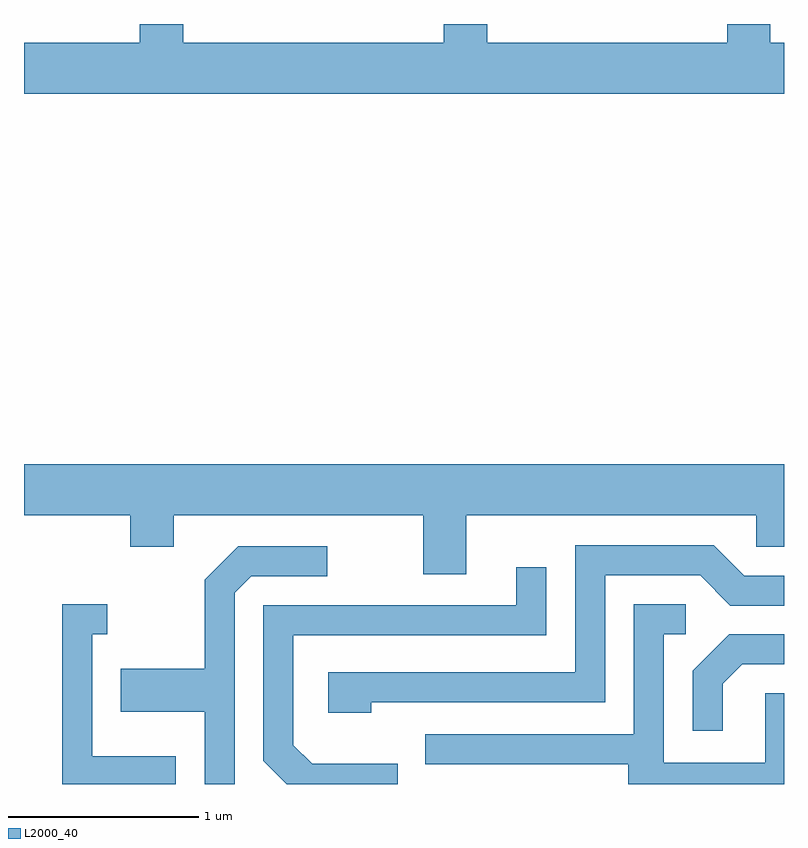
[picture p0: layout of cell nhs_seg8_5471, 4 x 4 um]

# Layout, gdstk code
import gdstk
lib = gdstk.Library(unit=1e-6, precision=1e-09)
def P(c, l, *ps):  # polygons
    for p in ps: c.add(gdstk.Polygon(p, *l))
L2000_40 = (2000, 40)

nhs_seg8_5471 = lib.new_cell('nhs_seg8_5471')
P(nhs_seg8_5471, L2000_40, [(353.611,1832.244),(353.539,1832.244),(353.539,1832.342),(353.311,1832.342),(353.311,1832.244),(352.049,1832.244),(352.049,1832.342),(351.821,1832.342),(351.821,1832.244),(350.449,1832.244),(350.449,1832.342),(350.221,1832.342),(350.221,1832.244),(349.611,1832.244),(349.611,1831.976),(353.611,1831.976)],
  [(349.611,1829.756),(350.171,1829.756),(350.171,1829.591),(350.399,1829.591),(350.399,1829.756),(351.711,1829.756),(351.711,1829.446),(351.939,1829.446),(351.939,1829.756),(353.466,1829.756),(353.466,1829.591),(353.611,1829.591),(353.611,1830.024),(349.611,1830.024)],
  [(351.439,1828.771),(352.669,1828.771),(352.669,1829.441),(353.169,1829.441),(353.329,1829.281),(353.611,1829.281),(353.611,1829.439),(353.402,1829.439),(353.242,1829.599),(352.511,1829.599),(352.511,1828.929),(351.211,1828.929),(351.211,1828.716),(351.439,1828.716)],
  [(350.719,1829.349),(350.807,1829.436),(351.208,1829.436),(351.208,1829.594),(350.739,1829.594),(350.561,1829.417),(350.561,1828.949),(350.121,1828.949),(350.121,1828.721),(350.561,1828.721),(350.561,1828.342),(350.719,1828.342)],
  [(351.579,1828.449),(351.127,1828.449),(351.029,1828.547),(351.029,1829.126),(352.359,1829.126),(352.359,1829.483),(352.201,1829.483),(352.201,1829.284),(350.871,1829.284),(350.871,1828.464),(350.993,1828.342),(351.579,1828.342)],
  [(350.409,1828.489),(349.969,1828.489),(349.969,1829.131),(350.048,1829.131),(350.048,1829.289),(349.811,1829.289),(349.811,1828.342),(350.409,1828.342)],
  [(353.611,1828.819),(353.511,1828.819),(353.511,1828.454),(352.979,1828.454),(352.979,1829.131),(353.093,1829.131),(353.093,1829.289),(352.821,1829.289),(352.821,1828.604),(351.723,1828.604),(351.723,1828.446),(352.791,1828.446),(352.791,1828.342),(353.611,1828.342)],
  [(353.289,1828.869),(353.392,1828.971),(353.611,1828.971),(353.611,1829.129),(353.324,1829.129),(353.131,1828.937),(353.131,1828.623),(353.289,1828.623)])

lib.write_gds('nhs_seg8_5471.gds')
